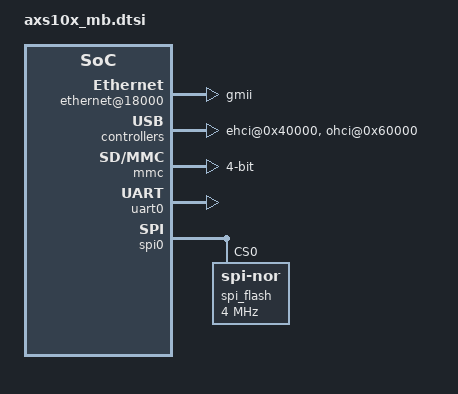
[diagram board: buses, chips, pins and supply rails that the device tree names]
// SPDX-License-Identifier: GPL-2.0+
/*
 * Copyright (C) 2017 Synopsys, Inc. All rights reserved.
 */

/ {
	aliases {
		spi0 = &spi0;
	};

	axs10x_mb@e0000000 {
		compatible = "simple-bus";
		#address-cells = <1>;
		#size-cells = <1>;
		ranges = <0x00000000 0xe0000000 0x10000000>;
		u-boot,dm-pre-reloc;

		clocks {
			compatible = "simple-bus";
			u-boot,dm-pre-reloc;

			apbclk: apbclk {
				compatible = "fixed-clock";
				clock-frequency = <50000000>;
				#clock-cells = <0>;
			};

			uartclk: uartclk {
				compatible = "fixed-clock";
				clock-frequency = <33333333>;
				#clock-cells = <0>;
				u-boot,dm-pre-reloc;
			};

			mmcclk_ciu: mmcclk-ciu {
				compatible = "fixed-clock";
				/*
				 * DW sdio controller has external ciu clock divider
				 * controlled via register in SDIO IP. It divides
				 * sdio_ref_clk (which comes from CGU) by 16 for
				 * default. So default mmcclk clock (which comes
				 * to sdk_in) is 25000000 Hz.
				 */
				clock-frequency = <25000000>;
				#clock-cells = <0>;
			};

			mmcclk_biu: mmcclk-biu {
				compatible = "fixed-clock";
				clock-frequency = <50000000>;
				#clock-cells = <0>;
			};
		};

		ethernet@18000 {
			compatible = "altr,socfpga-stmmac";
			reg = < 0x18000 0x2000 >;
			phy-mode = "gmii";
			snps,pbl = < 32 >;
			clocks = <&apbclk>;
			clock-names = "stmmaceth";
			max-speed = <100>;
		};

		ehci@0x40000 {
			compatible = "generic-ehci";
			reg = < 0x40000 0x100 >;
		};

		ohci@0x60000 {
			compatible = "generic-ohci";
			reg = < 0x60000 0x100 >;
		};

		mmc: mmc@15000 {
			compatible = "snps,dw-mshc";
			reg = <0x15000 0x400>;
			bus-width = <4>;
			clocks = <&mmcclk_biu>, <&mmcclk_ciu>;
			clock-names = "biu", "ciu";
			max-frequency = <25000000>;
		};

		uart0: serial0@22000 {
			compatible = "snps,dw-apb-uart";
			reg = <0x22000 0x100>;
			clocks = <&uartclk>;
			reg-shift = <2>;
			reg-io-width = <4>;
		};

		spi0: spi@0 {
			compatible = "snps,dw-apb-ssi";
			reg = <0x0 0x100>;
			#address-cells = <1>;
			#size-cells = <0>;
			spi-max-frequency = <4000000>;
			clocks = <&apbclk>;
			clock-names = "spi_clk";
			cs-gpio = <&cs_gpio 0>;
			spi_flash@0 {
				compatible = "jedec,spi-nor";
				reg = <0>;
				spi-max-frequency = <4000000>;
			};
		};

		cs_gpio: gpio@11218 {
			compatible = "snps,creg-gpio";
			reg = <0x11218 0x4>;
			gpio-controller;
			#gpio-cells = <1>;
			gpio-bank-name = "axs-spi-cs";
			gpio-count = <1>;
			gpio-first-shift = <0>;
			gpio-bit-per-line = <2>;
			gpio-activate-val = <1>;
			gpio-deactivate-val = <3>;
			gpio-default-val = <1>;
		};
	};
};
